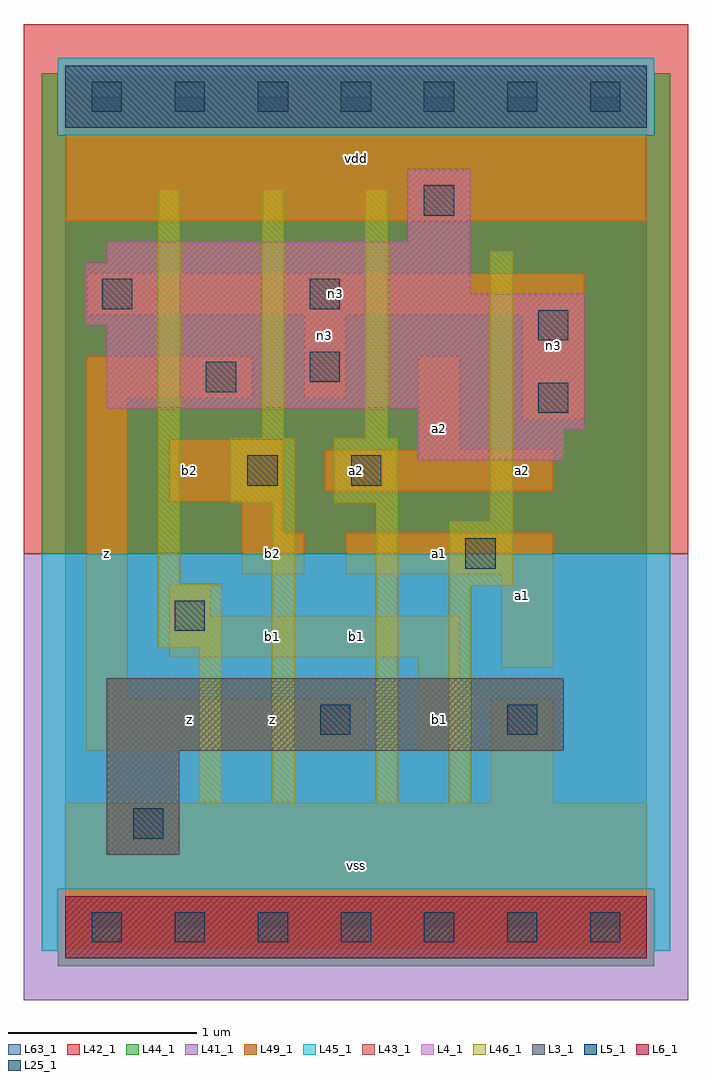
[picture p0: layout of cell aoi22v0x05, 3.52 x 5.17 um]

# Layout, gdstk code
import gdstk
lib = gdstk.Library(unit=1e-6, precision=1e-09)
def R(c, l, rs):  # rectangles x0, y0, x1, y1
    for r in rs: c.add(gdstk.rectangle(r[:2], r[2:], *l))
def A(c, l, x, y, w, h, nx, ny, dx, dy):  # array of equal rectangles
    R(c, l, [(x+i*dx, y+j*dy, x+i*dx+w, y+j*dy+h) for i in range(nx) for j in range(ny)])
L3_1 = (3, 1)
L4_1 = (4, 1)
L5_1 = (5, 1)
L6_1 = (6, 1)
L25_1 = (25, 1)
L41_1 = (41, 1)
L42_1 = (42, 1)
L43_1 = (43, 1)
L44_1 = (44, 1)
L45_1 = (45, 1)
L46_1 = (46, 1)
L49_1 = (49, 1)
L63_1 = (63, 1)

aoi22v0x05 = lib.new_cell('aoi22v0x05')
R(aoi22v0x05, L3_1, [(0.22,0.385,0.605,0.935), (0.22,0.935,2.64,1.32)])
R(aoi22v0x05, L4_1, [(1.87,2.475,2.64,2.64), (1.87,2.64,2.75,2.75), (0.22,2.75,2.75,3.19), (0.11,3.19,2.75,3.355), (0.11,3.355,2.145,3.52), (0.22,3.52,2.145,3.63), (1.815,3.63,2.145,4.015)])
R(aoi22v0x05, L5_1, [(0,4.235,3.08,4.565)])
R(aoi22v0x05, L6_1, [(0,-0.165,3.08,0.165)])
A(aoi22v0x05, L25_1, 0.14, -0.08, 0.16, 0.16, 7, 2, 0.44, 4.4)
R(aoi22v0x05, L25_1, [(0.36,0.47,0.52,0.63), (1.35,1.02,1.51,1.18), (2.34,1.02,2.5,1.18), (0.58,1.57,0.74,1.73), (2.12,1.9,2.28,2.06), (0.965,2.34,1.125,2.5), (1.515,2.34,1.675,2.5), (2.505,2.725,2.665,2.885), (0.745,2.835,0.905,2.995), (1.295,2.89,1.455,3.05), (2.505,3.11,2.665,3.27), (0.195,3.275,0.355,3.435), (1.295,3.275,1.455,3.435), (1.9,3.77,2.06,3.93)])
R(aoi22v0x05, L41_1, [(-0.22,-0.385,3.3,1.98)])
R(aoi22v0x05, L42_1, [(-0.22,1.98,3.3,4.785)])
R(aoi22v0x05, L43_1, [(0,-0.165,3.08,0.165), (0.22,0.385,0.605,0.935), (0.22,0.935,2.64,1.32), (1.87,2.475,2.64,2.64), (1.87,2.64,2.75,2.75), (0.22,2.75,2.75,3.19), (0.11,3.19,2.75,3.355), (0.11,3.355,2.145,3.52), (0.22,3.52,2.145,3.63), (1.815,3.63,2.145,4.015), (0,4.235,3.08,4.565)])
R(aoi22v0x05, L44_1, [(-0.04,-0.205,3.12,0.205), (-0.125,1.98,3.205,4.195), (-0.125,4.195,-0.04,4.525), (3.12,4.195,3.205,4.525)])
R(aoi22v0x05, L45_1, [(-0.125,-0.125,-0.04,0.205), (3.12,-0.125,3.205,0.205), (-0.125,0.205,3.205,1.98), (-0.04,4.195,3.12,4.605)])
R(aoi22v0x05, L46_1, [(0.71,0.655,0.83,1.48), (1.095,0.655,1.215,2.25), (1.645,0.655,1.765,2.25), (2.03,0.655,2.15,1.81), (0.49,1.48,0.83,1.82), (2.03,1.81,2.37,2.15), (0.49,1.82,0.61,3.91), (2.25,2.15,2.37,3.58), (0.875,2.25,1.215,2.59), (1.425,2.25,1.765,2.59), (1.04,2.59,1.16,3.91), (1.59,2.59,1.71,3.91)])
R(aoi22v0x05, L49_1, [(0,-0.11,3.08,0.66), (2.255,0.66,2.585,1.21), (0.11,0.935,1.595,1.21), (1.87,0.935,2.09,1.43), (0.11,1.21,0.33,2.805), (2.31,1.375,2.585,1.87), (0.55,1.43,2.09,1.65), (0.55,1.65,0.77,1.815), (0.935,1.87,1.265,2.09), (1.485,1.87,2.585,2.09), (0.935,2.09,1.155,2.255), (0.55,2.255,1.155,2.585), (1.375,2.31,2.585,2.53), (1.87,2.53,2.09,3.025), (2.42,2.695,2.75,3.245), (0.11,2.805,0.99,3.025), (1.265,2.805,1.485,3.245), (0.11,3.245,2.75,3.465), (0,3.74,3.08,4.51)])
R(aoi22v0x05, L63_1, [(0,0,3.08,4.4)])
aoi22v0x05.add(gdstk.Label('z', (0.22,1.98), layer=49, texttype=1))
aoi22v0x05.add(gdstk.Label('z', (0.66,1.1), layer=49, texttype=1))
aoi22v0x05.add(gdstk.Label('b2', (0.66,2.42), layer=49, texttype=1))
aoi22v0x05.add(gdstk.Label('vss', (1.54,0.33), layer=49, texttype=1))
aoi22v0x05.add(gdstk.Label('z', (1.1,1.1), layer=49, texttype=1))
aoi22v0x05.add(gdstk.Label('b1', (1.1,1.54), layer=49, texttype=1))
aoi22v0x05.add(gdstk.Label('b1', (1.54,1.54), layer=49, texttype=1))
aoi22v0x05.add(gdstk.Label('b2', (1.1,1.98), layer=49, texttype=1))
aoi22v0x05.add(gdstk.Label('a2', (1.54,2.42), layer=49, texttype=1))
aoi22v0x05.add(gdstk.Label('n3', (1.375,3.135), layer=49, texttype=1))
aoi22v0x05.add(gdstk.Label('vdd', (1.54,4.07), layer=49, texttype=1))
aoi22v0x05.add(gdstk.Label('b1', (1.98,1.1), layer=49, texttype=1))
aoi22v0x05.add(gdstk.Label('a1', (2.42,1.76), layer=49, texttype=1))
aoi22v0x05.add(gdstk.Label('a1', (1.98,1.98), layer=49, texttype=1))
aoi22v0x05.add(gdstk.Label('a2', (2.42,2.42), layer=49, texttype=1))
aoi22v0x05.add(gdstk.Label('a2', (1.98,2.64), layer=49, texttype=1))
aoi22v0x05.add(gdstk.Label('n3', (2.585,3.08), layer=49, texttype=1))
aoi22v0x05.add(gdstk.Label('n3', (1.43,3.355), layer=49, texttype=1))

lib.write_gds('aoi22v0x05.gds')
